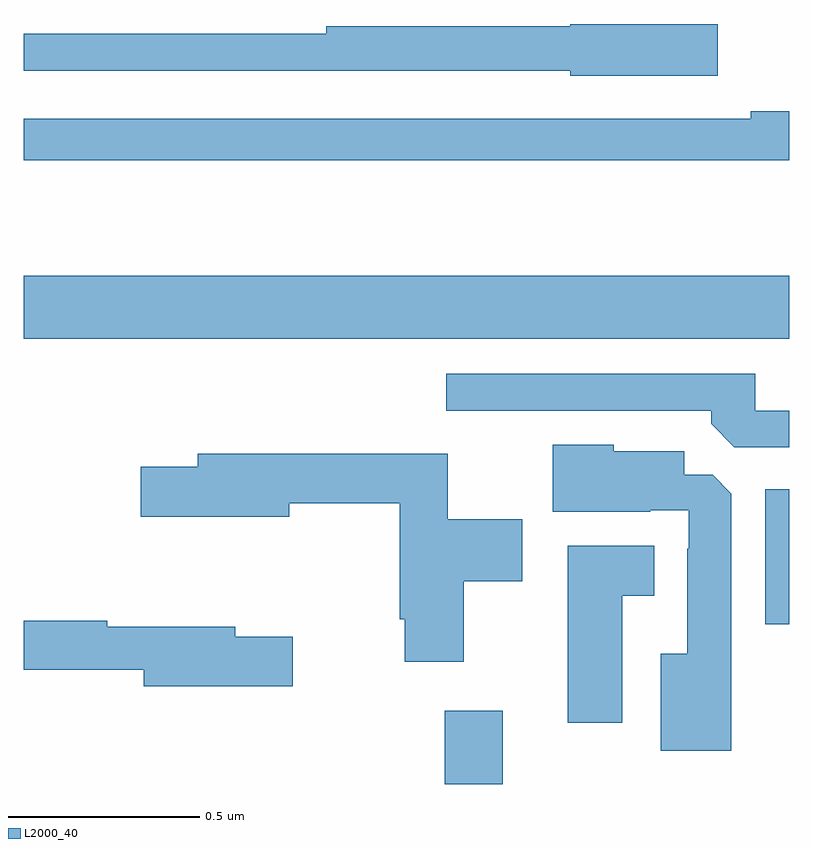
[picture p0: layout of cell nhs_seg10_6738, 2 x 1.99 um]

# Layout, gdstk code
import gdstk
lib = gdstk.Library(unit=1e-6, precision=1e-09)
def R(c, l, rs):  # rectangles x0, y0, x1, y1
    for r in rs: c.add(gdstk.rectangle(r[:2], r[2:], *l))
def P(c, l, *ps):  # polygons
    for p in ps: c.add(gdstk.Polygon(p, *l))
L2000_40 = (2000, 40)

nhs_seg10_6738 = lib.new_cell('nhs_seg10_6738')
R(nhs_seg10_6738, L2000_40, [(196.1,1284.5,196.252,1284.691), (196.937,1284.917,197,1285.27), (195,1285.664,197,1285.828)])
P(nhs_seg10_6738, L2000_40, [(196.813,1286.486),(196.428,1286.486),(196.428,1286.48),(195.79,1286.48),(195.79,1286.461),(195.538,1286.461),(195.538,1286.46),(195,1286.46),(195,1286.364),(196.428,1286.364),(196.428,1286.351),(196.813,1286.351)],
  [(197,1286.258),(196.9,1286.258),(196.9,1286.238),(195,1286.238),(195,1286.13),(197,1286.13)],
  [(197,1285.476),(196.911,1285.476),(196.911,1285.572),(196.104,1285.572),(196.104,1285.476),(196.796,1285.476),(196.796,1285.442),(196.857,1285.38),(197,1285.38)],
  [(196.849,1285.259),(196.8,1285.308),(196.726,1285.308),(196.726,1285.369),(196.542,1285.369),(196.542,1285.387),(196.382,1285.387),(196.382,1285.211),(196.637,1285.211),(196.637,1285.215),(196.737,1285.215),(196.737,1285.115),(196.733,1285.115),(196.733,1284.841),(196.664,1284.841),(196.664,1284.587),(196.849,1284.587)],
  [(196.15,1285.03),(196.303,1285.03),(196.303,1285.192),(196.108,1285.192),(196.108,1285.363),(195.455,1285.363),(195.455,1285.329),(195.306,1285.329),(195.306,1285.199),(195.694,1285.199),(195.694,1285.234),(195.983,1285.234),(195.983,1284.931),(195.995,1284.931),(195.995,1284.819),(196.15,1284.819)],
  [(196.564,1284.992),(196.648,1284.992),(196.648,1285.123),(196.421,1285.123),(196.421,1284.66),(196.564,1284.66)],
  [(195.703,1284.885),(195.553,1284.885),(195.553,1284.911),(195.218,1284.911),(195.218,1284.926),(195,1284.926),(195,1284.798),(195.314,1284.798),(195.314,1284.755),(195.703,1284.755)])

lib.write_gds('nhs_seg10_6738.gds')
